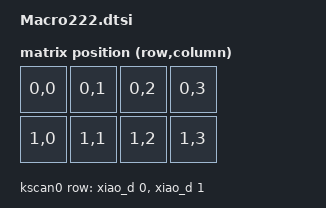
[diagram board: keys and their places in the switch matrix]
#include <dt-bindings/zmk/matrix_transform.h> // included when matrix transform added
#include <physical_layouts.dtsi> // When using keys property include needed


// chosen node
/ {
    chosen {
        zmk,kscan = &kscan0;
        zmk,transform = &default_transform;
        // zmk,physical-layout = &physical_layout0;
        // Other chosen items
    };
};

// physical layouts (key propretyあり)
// / {
//     physical_layout0: physical_layout0 {
//         compatible = "zmk,physical-layout";
//         display-name = "Default Layout";
//         transform = <&default_transform>;
//         // chose nodeで設定しているからkscanいらない？ kscan = <&kscan0>;
//         keys  //                     w   h    x    y     rot    rx    ry
//             = <&key_physical_attrs 100 100    0    0       0     0     0>
//             , <&key_physical_attrs 100 100  100    0       0     0     0>
//             , <&key_physical_attrs 100 100    0  100       0     0     0>
//             , <&key_physical_attrs 100 100  100  100       0     0     0>
//             , <&key_physical_attrs 100 100  300    0       0     0     0>
//             , <&key_physical_attrs 100 100  400    0       0     0     0>
//             , <&key_physical_attrs 100 100  300  100       0     0     0>
//             , <&key_physical_attrs 100 100  400  100       0     0     0>
//             ;
//     };
// };

//matrix transoform
/ {
    default_transform: keymap_transform0 {
        compatible = "zmk,matrix-transform";
        columns = <4>;
        rows = <2>;
        map = <
        //  LKey 1 |LKey 2      |RKey 5 |RKey 6 
            RC(0,0) RC(0,1)      RC(0,2) RC(0,3)
        //  LKey 3 |LKey 4      |RKey 7 |RKey 8 
            RC(1,0) RC(1,1)      RC(1,2) RC(1,3)
        >;
    };
};

// kscan
/ {
    kscan0: kscan0 {
        compatible = "zmk,kscan-gpio-matrix";
        diode-direction = "col2row";
        wakeup-source;

        row-gpios
            = <&xiao_d 0 (GPIO_ACTIVE_HIGH | GPIO_PULL_DOWN)>
            , <&xiao_d 1 (GPIO_ACTIVE_HIGH | GPIO_PULL_DOWN)>
            ;

    };
};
